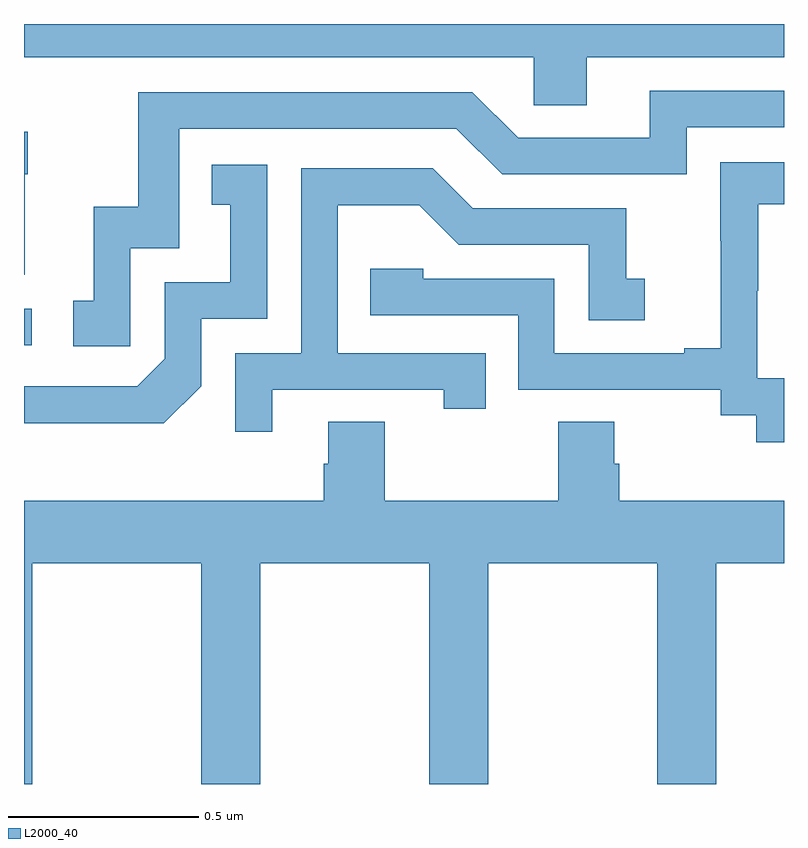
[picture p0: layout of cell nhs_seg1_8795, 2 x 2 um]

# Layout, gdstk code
import gdstk
lib = gdstk.Library(unit=1e-6, precision=1e-09)
def R(c, l, rs):  # rectangles x0, y0, x1, y1
    for r in rs: c.add(gdstk.rectangle(r[:2], r[2:], *l))
def P(c, l, *ps):  # polygons
    for p in ps: c.add(gdstk.Polygon(p, *l))
L2000_40 = (2000, 40)

nhs_seg1_8795 = lib.new_cell('nhs_seg1_8795')
R(nhs_seg1_8795, L2000_40, [(221,504.354,221.02,504.45)])
P(nhs_seg1_8795, L2000_40, [(221,505.112),(222.342,505.112),(222.342,504.985),(222.481,504.985),(222.481,505.112),(223,505.112),(223,505.199),(221,505.199)],
  [(221.28,504.609),(221.409,504.609),(221.409,504.924),(222.138,504.924),(222.258,504.804),(222.744,504.804),(222.744,504.927),(223,504.927),(223,505.023),(222.647,505.023),(222.647,504.9),(222.3,504.9),(222.18,505.02),(221.301,505.02),(221.301,504.718),(221.183,504.718),(221.183,504.471),(221.13,504.471),(221.13,504.351),(221.28,504.351)],
  [(221.002,504.803),(221.01,504.803),(221.01,504.916),(221,504.916),(221,504.539),(221.002,504.539)],
  [(223,504.267),(222.93,504.267),(222.93,504.497),(222.932,504.497),(222.932,504.725),(223,504.725),(223,504.835),(222.832,504.835),(222.832,504.629),(222.833,504.629),(222.833,504.346),(222.737,504.346),(222.737,504.333),(222.396,504.333),(222.396,504.528),(222.051,504.528),(222.051,504.555),(221.911,504.555),(221.911,504.432),(222.3,504.432),(222.3,504.237),(222.834,504.237),(222.834,504.169),(222.927,504.169),(222.927,504.099),(223,504.099)],
  [(221.466,504.246),(221.466,504.423),(221.64,504.423),(221.64,504.829),(221.494,504.829),(221.494,504.723),(221.543,504.723),(221.543,504.519),(221.37,504.519),(221.37,504.318),(221.298,504.246),(221,504.246),(221,504.149),(221.368,504.149)],
  [(221.653,504.237),(222.104,504.237),(222.104,504.186),(222.215,504.186),(222.215,504.333),(221.826,504.333),(221.826,504.722),(222.04,504.722),(222.144,504.618),(222.486,504.618),(222.486,504.42),(222.634,504.42),(222.634,504.529),(222.585,504.529),(222.585,504.714),(222.181,504.714),(222.076,504.819),(221.73,504.819),(221.73,504.333),(221.556,504.333),(221.556,504.126),(221.653,504.126)],
  [(221.022,503.78),(221.467,503.78),(221.467,503.199),(221.622,503.199),(221.622,503.78),(222.067,503.78),(222.067,503.199),(222.222,503.199),(222.222,503.78),(222.667,503.78),(222.667,503.199),(222.822,503.199),(222.822,503.78),(223,503.78),(223,503.944),(222.566,503.944),(222.566,504.042),(222.553,504.042),(222.553,504.152),(222.406,504.152),(222.406,503.944),(221.949,503.944),(221.949,504.152),(221.801,504.152),(221.801,504.042),(221.789,504.042),(221.789,503.944),(221,503.944),(221,503.199),(221.022,503.199)])

lib.write_gds('nhs_seg1_8795.gds')
